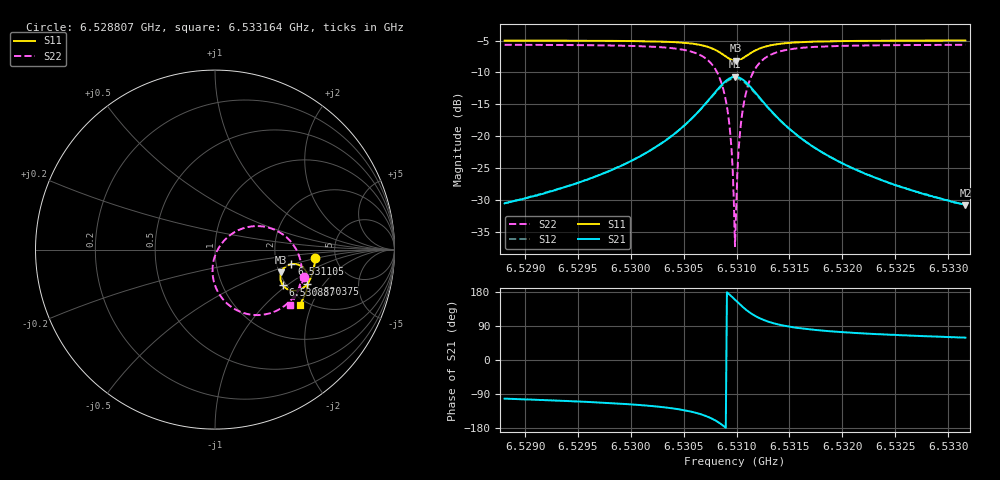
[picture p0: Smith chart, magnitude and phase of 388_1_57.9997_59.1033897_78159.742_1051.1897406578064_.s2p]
#  HZ  S  RI  R  50.00
! Rohde & Schwarz Vector Network Analyzer
! Rohde-Schwarz,ZNB20-2Port,1311601062101988,3.16
! Created: UTC 3/21/2024, 1:07:42 AM
! freq[Hz]  re:S11  im:S11  re:S21  im:S21  re:S12  im:S12  re:S22  im:S22
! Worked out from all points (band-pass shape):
!   401 points, 6.528807 GHz to 6.533164 GHz, reference 50 ohm
!   highest |S21| = -10.69 dB at 6.530985 GHz (marker M1); lowest = -30.8 dB at 6.533164 GHz (marker M2)
!   |S21| within 3 dB of the highest: 6.530768 GHz to 6.531204 GHz (435.6 kHz wide, 0.00667 % of centre)
!   lowest |S11| = -8.2 dB at 6.530996 GHz (marker M3), VSWR 2.28, Z = 103 - j30.4 ohm
!   |S11| at or under -10 dB: nowhere
!   |S22| runs from -37.3 to -5.7 dB; largest |S21 - S12| = 0.011
!   S11 on the Smith chart (normalised r, x): 6.528807 GHz: 3.49, -0.49; 6.530375 GHz: 2.56, -1.40; 6.530887 GHz: 1.92, -0.94; 6.531105 GHz: 2.41, -0.48; 6.533164 GHz: 1.82, -1.65
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6.528807e9  0.5593 -0.0477  -0.00611 -0.0289  -0.00679 -0.029  0.4984 -0.1506
6.5295367e9  0.5499 -0.1077  -0.015 -0.0414  -0.016 -0.0411  0.4697 -0.2174
6.5302664e9  0.5227 -0.1784  -0.0469 -0.0711  -0.0487 -0.0699  0.3924 -0.3098
6.5303753e9  0.5139 -0.191  -0.0591 -0.0787  -0.0614 -0.0772  0.3661 -0.3279
6.5307239e9  0.4478 -0.2295  -0.1606 -0.0952  -0.1627 -0.0889  0.1744 -0.3576
6.5308219e9  0.4073 -0.2223  -0.2233 -0.0672  -0.2222 -0.0582  0.0684 -0.3016
6.5308872e9  0.379 -0.1989  -0.2652 -0.0174  -0.2603 -0.00829  0.00459 -0.2112
6.5309308e9  0.3663 -0.1728  -0.2809 0.0329  -0.2731 0.0404  -0.0139 -0.125
6.5309526e9  0.3641 -0.1573  -0.2819 0.0613  -0.2728 0.0674  -0.011 -0.0777
6.5309635e9  0.3641 -0.1494  -0.2802 0.0759  -0.2708 0.0813  -0.00596 -0.0539
6.5309744e9  0.3652 -0.1414  -0.277 0.0904  -0.2674 0.095  0.00155 -0.0305
6.5309853e9  0.367 -0.1334  -0.2726 0.1047  -0.2626 0.1081  0.0111 -0.00794
6.5309962e9  0.3696 -0.1258  -0.2665 0.1184  -0.2567 0.121  0.0231 0.0136
6.531007e9  0.3731 -0.1186  -0.2593 0.1313  -0.2494 0.1331  0.037 0.0339
6.5310397e9  0.3876 -0.0998  -0.2312 0.1645  -0.2223 0.1639  0.0885 0.0839
6.5310724e9  0.406 -0.0873  -0.1973 0.1869  -0.1899 0.1848  0.148 0.1156
6.5311051e9  0.4254 -0.0809  -0.1625 0.1987  -0.1567 0.1958  0.2077 0.1296
6.5311813e9  0.4646 -0.0843  -0.0936 0.1967  -0.0908 0.1941  0.3233 0.1142
6.5312902e9  0.4975 -0.1072  -0.0356 0.1665  -0.0343 0.165  0.418 0.0495
6.531715e9  0.5194 -0.1833  0.0144 0.0822  0.0153 0.0819  0.483 -0.1291
6.5324447e9  0.4993 -0.2555  0.0168 0.0394  0.0175 0.0392  0.4556 -0.2448
6.5331636e9  0.4714 -0.3084  0.0148 0.0246  0.0153 0.0244  0.4203 -0.3067
